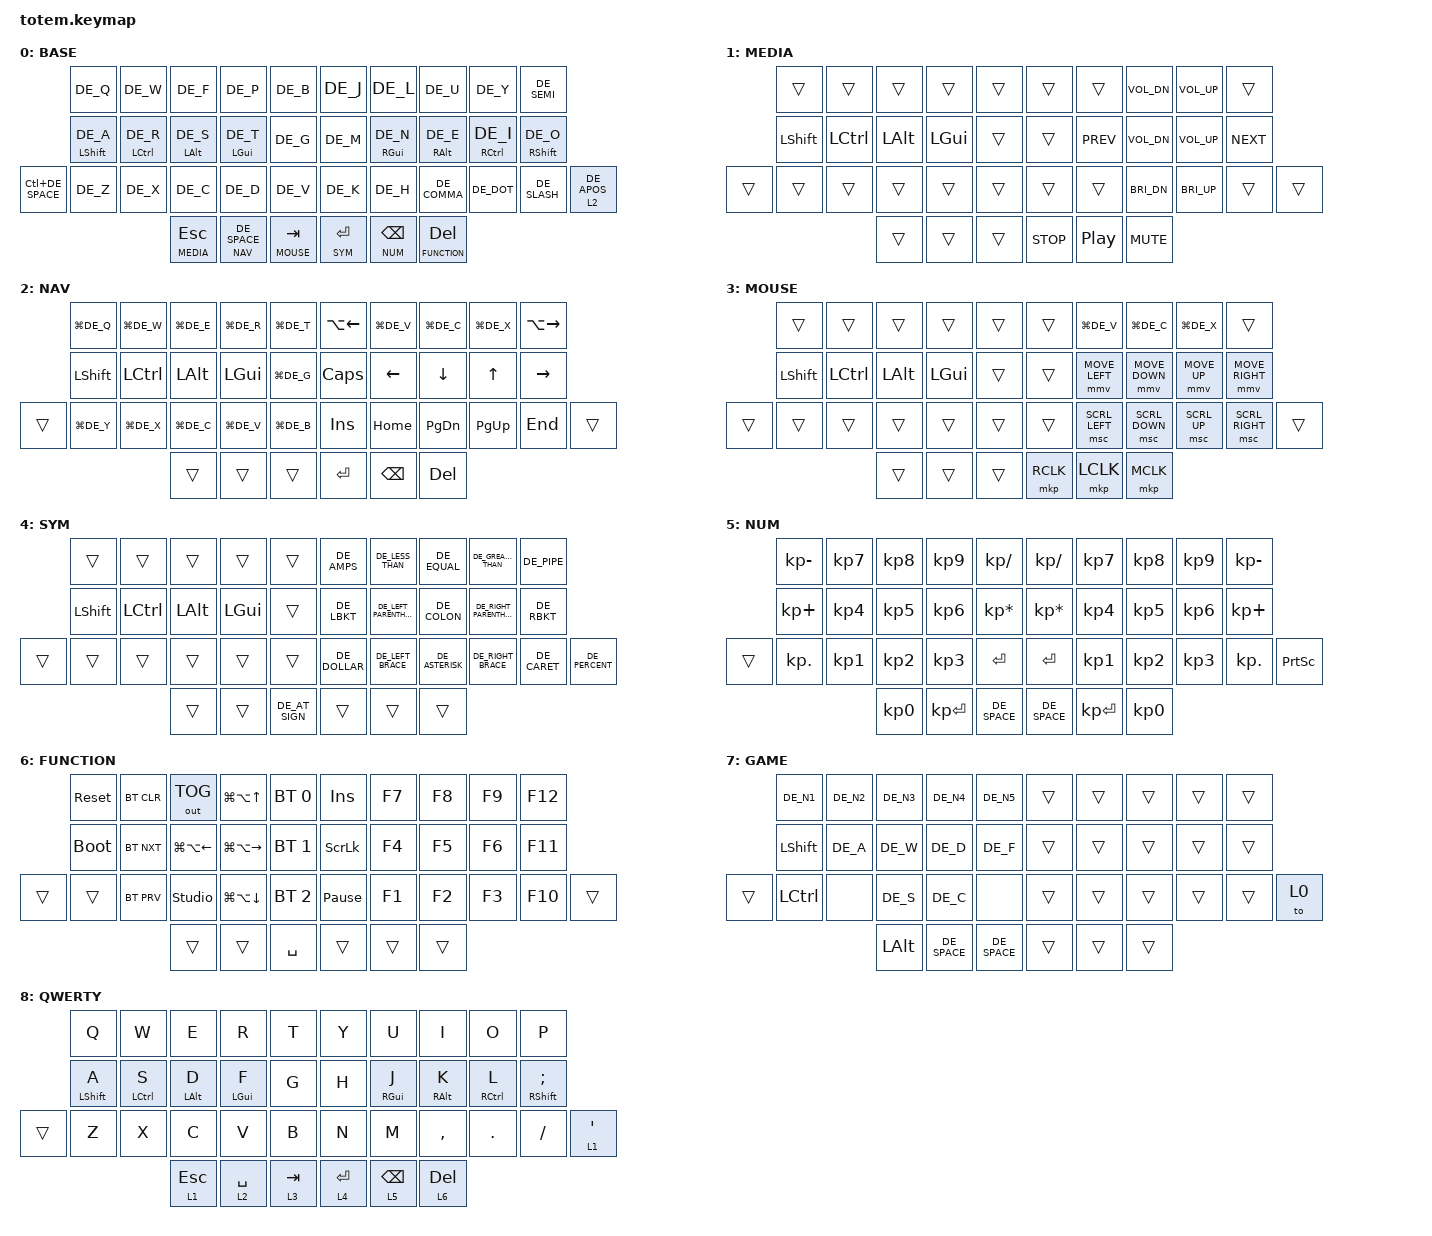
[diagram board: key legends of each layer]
//
//                                                        ▀▀▀▀▀     ▀▀▀▀▀          ▀▀█▀▀
//                                                        ▄▀▀▀▄  ▄  ▄▀▀▀▄  ▄  ▄▀▀▀▄  █  ▄▀▀▀▄
//                                                        █   █  █  █   █  █  █   █  █  █   █
//                                                         ▀▀▀   █   ▀▀▀   █   ▀▀▀   ▀   ▀▀▀
//                                                               █      ▄▄▄█▄▄▄    █   █  
//                                                               ▀      █  █  █     █▄█
//                                                             ▀▀▀▀▀    █  █  █      ▀
//                                                                      ▀  ▀  ▀
//
// ▄▄▄▄▄▄▄▄▄▄▄▄▄▄▄▄▄▄▄▄▄▄▄▄▄▄▄▄▄▄▄▄▄▄▄▄▄▄▄▄▄▄▄▄▄▄▄▄▄▄▄▄▄▄▄▄▄▄▄▄▄▄▄▄▄▄▄▄▄▄▄▄▄▄▄▄▄▄▄▄▄▄▄▄▄▄▄▄▄▄▄▄▄▄▄▄▄▄▄▄▄▄▄▄▄▄▄▄▄▄▄▄▄▄▄▄▄▄▄▄▄▄▄▄▄▄▄▄▄▄▄▄▄▄▄▄▄▄▄▄▄▄▄▄▄▄▄▄▄

#include <behaviors.dtsi>
#include <dt-bindings/zmk/bt.h>
#include <dt-bindings/zmk/keys.h>
#include <dt-bindings/zmk/outputs.h>
#include <dt-bindings/zmk/pointing.h>
#ifndef KEYMAP_DRAWER
#include "keys_de.h"
#endif

#define BASE      0
#define MEDIA     1
#define NAV       2
#define MOUSE     3
#define SYM       4
#define NUM       5
#define FUNCTION  6
#define GAME      7
#define QWERTY    8

&mt {
    quick-tap-ms = <100>;
    global-quick-tap;
    flavor = "tap-preferred";
    tapping-term-ms = <170>;
};

/ {
    behaviors {
        hm: homerow_mods {
            compatible = "zmk,behavior-hold-tap";
            label = "HOMEROW_MODS";
            #binding-cells = <2>;
            tapping-term-ms = <200>;			// <---[[produces tap if held longer than tapping-term-ms]]
            quick_tap_ms = <0>;
            flavor = "tap-preferred";
            bindings = <&kp>, <&kp>;
        };

        lc: layer_change {
            compatible = "zmk,behavior-hold-tap";
            #binding-cells = <2>;
            flavor = "hold-preferred";
            tapping-term-ms = <200>;
            quick-tap-ms = <200>;
            require-prior-idle-ms = <125>;
            bindings = <&to>, <&kp>;
        };

        sc: sticky_layer_change {
            compatible = "zmk,behavior-hold-tap";
            #binding-cells = <2>;
            flavor = "hold-preferred";
            tapping-term-ms = <200>;
            quick-tap-ms = <200>;
            require-prior-idle-ms = <125>;
            bindings = <&sl>, <&kp>;
        };

        dl: dualayer_change {
            compatible = "zmk,behavior-hold-tap";
            #binding-cells = <2>;
            flavor = "hold-preferred";
            tapping-term-ms = <200>;
            quick-tap-ms = <200>;
            require-prior-idle-ms = <125>;
            bindings = <&to>, <&sl>;
        };

        ts: temp_sticky {
            compatible = "zmk,behavior-hold-tap";
            #binding-cells = <2>;
            flavor = "hold-preferred";
            tapping-term-ms = <200>;
            quick-tap-ms = <200>;
            require-prior-idle-ms = <125>;
            bindings = <&mo>, <&to>;
        };
    };

    combos {
        compatible = "zmk,combos";

        combo_undo {
            timeout-ms = <50>;
            key-positions = <34 35>;
            layers = <0 5 1 6>;
            bindings = <&kp LG(Y)>;
        };

        to_game_layer {
            bindings = <&to 7>;
            key-positions = <4 5>;
            layers = <0 5 1 6>;
            timeout-ms = <50>;
        };

        combo_enter {
            bindings = <&kp ENTER>;
            key-positions = <16 17 18>;
        };
    };

    keymap {
        compatible = "zmk,keymap";

        // ▄▄▄▄▄▄▄▄▄▄▄▄▄▄▄▄▄▄▄▄▄▄▄▄▄▄▄▄▄▄▄▄▄▄▄▄▄▄▄▄▄▄▄▄▄▄▄▄▄▄▄▄▄▄▄▄▄▄▄▄▄▄▄▄▄▄▄▄▄▄▄▄▄▄▄▄▄▄▄▄▄▄▄▄▄▄▄▄▄▄▄▄▄▄▄▄▄▄▄▄▄▄▄▄▄▄▄▄▄▄▄▄▄▄▄▄▄▄▄▄▄▄▄▄▄▄▄▄▄▄▄▄▄▄▄▄▄▄▄▄▄▄▄▄▄▄▄▄▄

        base_layer {
            // ┏━━━━━━━━━━━━━━━━━━━━━━━━━━━━━━━━━━━━━━━┓

            label = "BASE";

            // ┗━━━━━━━━━━━━━━━━━━━━━━━━━━━━━━━━━━━━━━━┛
            //             ┌─────────┬─────────┬─────────┬─────────┬─────────┐                     ┌─────────┬─────────┬─────────┬─────────┬─────────┐
            //             │    Q    │    W    │    F    │    P    │    B    │                     │    J    │    L    │    U    │    Y    │    ;    │   
            //             ├─────────┼─────────┼─────────┼─────────┼─────────┤                     ├─────────┼─────────┼─────────┼─────────┼─────────┤
            //             │    A    │    R    │    S    │    T    │    G    │                     │    M    │    N    │    E    │    I    │    O    │
            //   ┌─────────┼─────────┼─────────┼─────────┼─────────┼─────────┤                     ├─────────┼─────────┼─────────┼─────────┼─────────┼─────────┐
            //   │  ^SPACE │    Z    │    X    │    C    │    D    │    V    │                     │    K    │    H    │    ,    │    .    │    /    │    '    │
            //   └─────────┴─────────┴─────────┴─────────┼─────────┼─────────┼──────────┬┬─────────┼─────────┼─────────┼─────────┴─────────┴─────────┴─────────┘
            //                                           │   ESC   │  SPACE  │  TAB     ││   RET   │  BSPCE  │   DEL   │
            //                                           └─────────┴─────────┴──────────┘└─────────┴─────────┴─────────┘

            bindings = <
               &kp DE_Q         &kp DE_W        &kp DE_F       &kp DE_P        &kp DE_B        &kp DE_J      &kp DE_L            &kp DE_U         &kp DE_Y        &kp DE_SEMI
               &hm LSHIFT DE_A  &hm LCTRL DE_R  &hm LALT DE_S  &hm LGUI DE_T   &kp DE_G        &kp DE_M      &hm RGUI DE_N       &hm RALT DE_E    &hm RCTRL DE_I  &hm RSHIFT DE_O
&kp LC(DE_SPACE)  &kp DE_Z         &kp DE_X        &kp DE_C       &kp DE_D        &kp DE_V        &kp DE_K      &kp DE_H            &kp DE_COMMA     &kp DE_DOT      &kp DE_SLASH      &lc 2 DE_APOS
                                          &lt MEDIA ESC   &lt NAV DE_SPACE  &lt MOUSE TAB    &lt SYM RET  &lt NUM BACKSPACE  &lt FUNCTION DELETE
            >;
        };

        media_layer {
            // ┏━━━━━━━━━━━━━━━━━━━━━━━━━━━━━━━━━━━━━━━┓

            label = "MEDIA";

            // ┗━━━━━━━━━━━━━━━━━━━━━━━━━━━━━━━━━━━━━━━┛
            //             ┌─────────┬─────────┬─────────┬─────────┬─────────┐                    ┌─────────┬─────────┬─────────┬─────────┬─────────┐
            //             │         │         │         │         │         │                    │         │         │         │         │         │   
            //             ├─────────┼─────────┼─────────┼─────────┼─────────┤                    ├─────────┼─────────┼─────────┼─────────┼─────────┤
            //             │         │         │         │         │         │                    │         │         │         │         │         │
            //   ┌─────────┼─────────┼─────────┼─────────┼─────────┼─────────┤                    ├─────────┼─────────┼─────────┼─────────┼─────────┼─────────┐
            //   │         │         │         │         │         │         │                    │         │         │         │         │         │         │
            //   └─────────┴─────────┴─────────┴─────────┼─────────┼─────────┼─────────┬┬─────────┼─────────┼─────────┼─────────┴─────────┴─────────┴─────────┘
            //                                           │         │         │         ││         │         │         │  
            //                                           └─────────┴─────────┴─────────┘└─────────┴─────────┴─────────┘

            bindings = <
        &trans     &trans     &trans    &trans    &trans    &trans      &trans      &kp K_VOL_DN       &kp K_VOL_UP  &trans
        &kp LSHFT  &kp LCTRL  &kp LALT  &kp LGUI  &trans    &trans      &kp C_PREV  &kp C_VOL_DN       &kp C_VOL_UP  &kp C_NEXT
&trans  &trans     &trans     &trans    &trans    &trans    &trans      &trans      &kp C_BRI_DN       &kp C_BRI_UP  &trans      &trans
                              &trans    &trans    &trans    &kp C_STOP  &kp C_PP    &kp C_MUTE
            >;
        };

        nav_layer {
            // ┏━━━━━━━━━━━━━━━━━━━━━━━━━━━━━━━━━━━━━━━┓

            label = "NAV";

            // ┗━━━━━━━━━━━━━━━━━━━━━━━━━━━━━━━━━━━━━━━┛
            //             ┌─────────┬─────────┬─────────┬─────────┬─────────┐                    ┌─────────┬─────────┬─────────┬─────────┬─────────┐
            //             │         │         │         │         │         │                    │         │         │         │         │         │   
            //             ├─────────┼─────────┼─────────┼─────────┼─────────┤                    ├─────────┼─────────┼─────────┼─────────┼─────────┤
            //             │         │         │         │         │         │                    │         │         │         │         │         │
            //   ┌─────────┼─────────┼─────────┼─────────┼─────────┼─────────┤                    ├─────────┼─────────┼─────────┼─────────┼─────────┼─────────┐
            //   │         │         │         │         │         │         │                    │         │         │         │         │         │         │
            //   └─────────┴─────────┴─────────┴─────────┼─────────┼─────────┼─────────┬┬─────────┼─────────┼─────────┼─────────┴─────────┴─────────┴─────────┘
            //                                           │         │         │         ││         │         │         │  
            //                                           └─────────┴─────────┴─────────┘└─────────┴─────────┴─────────┘

            bindings = <
        &kp LG(DE_Q)   &kp LG(DE_W)  &kp LG(DE_E)  &kp LG(DE_R)  &kp LG(DE_T)    &kp LA(LEFT)  &kp LG(DE_V)      &kp LG(DE_C)      &kp LG(DE_X)    &kp LA(RIGHT)
        &kp LSHIFT  &kp LCTRL  &kp LALT   &kp LGUI   &kp LG(DE_G)    &kp CAPS      &kp LEFT       &kp DOWN       &kp UP       &kp RIGHT
&trans  &kp LG(DE_Y)   &kp LG(DE_X)  &kp LG(DE_C)  &kp LG(DE_V)  &kp LG(DE_B)    &kp INSERT    &kp HOME       &kp PAGE_DOWN  &kp PAGE_UP  &kp END        &trans
                               &trans     &trans     &trans       &kp ENTER     &kp BACKSPACE  &kp DELETE
            >;
        };

        mouse_layer {
            // ┏━━━━━━━━━━━━━━━━━━━━━━━━━━━━━━━━━━━━━━━┓

            label = "MOUSE";

            // ┗━━━━━━━━━━━━━━━━━━━━━━━━━━━━━━━━━━━━━━━┛
            //             ┌─────────┬─────────┬─────────┬─────────┬─────────┐                    ┌─────────┬─────────┬─────────┬─────────┬─────────┐
            //             │         │         │         │         │         │                    │         │         │         │         │         │   
            //             ├─────────┼─────────┼─────────┼─────────┼─────────┤                    ├─────────┼─────────┼─────────┼─────────┼─────────┤
            //             │         │         │         │         │         │                    │         │         │         │         │         │
            //   ┌─────────┼─────────┼─────────┼─────────┼─────────┼─────────┤                    ├─────────┼─────────┼─────────┼─────────┼─────────┼─────────┐
            //   │         │         │         │         │         │         │                    │         │         │         │         │         │         │
            //   └─────────┴─────────┴─────────┴─────────┼─────────┼─────────┼─────────┬┬─────────┼─────────┼─────────┼─────────┴─────────┴─────────┴─────────┘
            //                                           │         │         │         ││         │         │         │  
            //                                           └─────────┴─────────┴─────────┘└─────────┴─────────┴─────────┘

            bindings = <
        &trans     &trans     &trans    &trans    &trans    &trans     &kp LG(DE_V)       &kp LG(DE_C)       &kp LG(DE_X)     &trans
        &kp LSHFT  &kp LCTRL  &kp LALT  &kp LGUI  &trans    &trans     &mmv MOVE_LEFT  &mmv MOVE_DOWN  &mmv MOVE_UP  &mmv MOVE_RIGHT
&trans  &trans     &trans     &trans    &trans    &trans    &trans     &msc SCRL_LEFT  &msc SCRL_DOWN  &msc SCRL_UP  &msc SCRL_RIGHT  &trans
                              &trans    &trans    &trans    &mkp RCLK  &mkp LCLK       &mkp MCLK
            >;
        };

        sym_layer {
            // ┏━━━━━━━━━━━━━━━━━━━━━━━━━━━━━━━━━━━━━━━┓

            label = "SYM";

            // ┗━━━━━━━━━━━━━━━━━━━━━━━━━━━━━━━━━━━━━━━┛
            //             ┌─────────┬─────────┬─────────┬─────────┬─────────┐                    ┌─────────┬─────────┬─────────┬─────────┬─────────┐
            //             │         │         │         │         │         │                    │         │         │         │         │         │   
            //             ├─────────┼─────────┼─────────┼─────────┼─────────┤                    ├─────────┼─────────┼─────────┼─────────┼─────────┤
            //             │         │         │         │         │         │                    │         │         │         │         │         │
            //   ┌─────────┼─────────┼─────────┼─────────┼─────────┼─────────┤                    ├─────────┼─────────┼─────────┼─────────┼─────────┼─────────┐
            //   │         │         │         │         │         │         │                    │         │         │         │         │         │         │
            //   └─────────┴─────────┴─────────┴─────────┼─────────┼─────────┼─────────┬┬─────────┼─────────┼─────────┼─────────┴─────────┴─────────┴─────────┘
            //                                           │         │         │         ││         │         │         │  
            //                                           └─────────┴─────────┴─────────┘└─────────┴─────────┴─────────┘

            bindings = <
        &trans     &trans     &trans    &trans    &trans         &kp DE_AMPS  &kp DE_LESS_THAN         &kp DE_EQUAL     &kp DE_GREATER_THAN       &kp DE_PIPE
        &kp LSHFT  &kp LCTRL  &kp LALT  &kp LGUI  &trans         &kp DE_LBKT       &kp DE_LEFT_PARENTHESIS  &kp DE_COLON     &kp DE_RIGHT_PARENTHESIS  &kp DE_RBKT
&trans  &trans     &trans     &trans    &trans    &trans         &kp DE_DOLLAR     &kp DE_LEFT_BRACE        &kp DE_ASTERISK  &kp DE_RIGHT_BRACE        &kp DE_CARET  &kp DE_PERCENT
                              &trans    &trans    &kp DE_AT_SIGN    &trans         &trans                &trans
            >;
        };

        num_layer {
            // ┏━━━━━━━━━━━━━━━━━━━━━━━━━━━━━━━━━━━━━━━┓

            label = "NUM";

            // ┗━━━━━━━━━━━━━━━━━━━━━━━━━━━━━━━━━━━━━━━┛
            //             ┌─────────┬─────────┬─────────┬─────────┬─────────┐                     ┌─────────┬─────────┬─────────┬─────────┬─────────┐
            //             │    -    │    7    │    8    │    9    │    /    │                     │    /    │    7    │    8    │    9    │    -    │
            //             ├─────────┼─────────┼─────────┼─────────┼─────────┤                     ├─────────┼─────────┼─────────┼─────────┼─────────┤
            //             │    +    │    4    │    5    │    6    │    *    │                     │    *    │    4    │    5    │    6    │    +    │
            //   ┌─────────┼─────────┼─────────┼─────────┼─────────┼─────────┤                     ├─────────┼─────────┼─────────┼─────────┼─────────┼─────────┐
            //   │         │    .    │    1    │    2    │    3    │ ------- │                     │ ------- │    1    │    2    │    3    │    .    │  PRINT  │
            //   └─────────┴─────────┴─────────┴─────────┼─────────┼─────────┼──────────┬┬─────────┼─────────┼─────────┼─────────┴─────────┴─────────┴─────────┘
            //                                           │    0    │  ENTER  │  SPACE   ││  SPACE  │  ENTER  │    0    │ 
            //                                           └─────────┴─────────┴──────────┘└─────────┴─────────┴─────────┘

            bindings = <
           &kp KP_MINUS  &kp KP_N7  &kp KP_N8  &kp KP_N9  &kp KP_DIVIDE      &kp KP_DIVIDE    &kp KP_N7  &kp KP_N8  &kp KP_N9  &kp KP_MINUS
           &kp KP_PLUS   &kp KP_N4  &kp KP_N5  &kp KP_N6  &kp KP_MULTIPLY    &kp KP_MULTIPLY  &kp KP_N4  &kp KP_N5  &kp KP_N6  &kp KP_PLUS
&trans  &kp KP_DOT    &kp KP_N1  &kp KP_N2  &kp KP_N3  &kp RET            &kp RET          &kp KP_N1  &kp KP_N2  &kp KP_N3  &kp KP_DOT    &kp PSCRN
                                    &kp KP_N0  &kp KP_ENTER  &kp DE_SPACE          &kp DE_SPACE        &kp KP_ENTER     &kp KP_N0
            >;
        };

        function_layer {
            // ┏━━━━━━━━━━━━━━━━━━━━━━━━━━━━━━━━━━━━━━━┓

            label = "FUNCTION";

            // ┗━━━━━━━━━━━━━━━━━━━━━━━━━━━━━━━━━━━━━━━┛
            //             ┌─────────┬─────────┬─────────┬─────────┬─────────┐                     ┌─────────┬─────────┬─────────┬─────────┬─────────┐
            //             │  RESET  │  BT CLR │ OUT TOG │  WIN ^  │ BTSEL 0 │                     │   INS   │    F7   │    F8   │    F9   │   F12   │
            //             ├─────────┼─────────┼─────────┼─────────┼─────────┤                     ├─────────┼─────────┼─────────┼─────────┼─────────┤
            //             │  BOOTLD │ BT NEXT │  WIN <  │  WIN >  │ BTSEL 1 │                     │  SLCK   │    F4   │    F5   │    F6   │   F11   │
            //   ┌─────────┼─────────┼─────────┼─────────┼─────────┼─────────┤                     ├─────────┼─────────┼─────────┼─────────┼─────────┼─────────┐
            //   │         │ CAPTURE │ BT PREV │ STUDIO  │  WIN v  │ BTSEL 2 │                     │  PAUSE  │    F1   │    F2   │    F3   │   F10   │         │
            //   └─────────┴─────────┴─────────┴─────────┼─────────┼─────────┼──────────┬┬─────────┼─────────┼─────────┼─────────┴─────────┴─────────┴─────────┘
            //                                           │         │         │  SPACE   ││         │         │         │ 
            //                                           └─────────┴─────────┴──────────┘└─────────┴─────────┴─────────┘

            bindings = <
        &sys_reset   &bt BT_CLR  &out OUT_TOG            &kp LG(LA(UP_ARROW))     &bt BT_SEL 0    &kp INSERT       &kp F7  &kp F8  &kp F9  &kp F12
        &bootloader  &bt BT_NXT  &kp LG(LA(LEFT_ARROW))  &kp LG(LA(RIGHT_ARROW))  &bt BT_SEL 1    &kp SLCK         &kp F4  &kp F5  &kp F6  &kp F11
&trans  &trans       &bt BT_PRV  &studio_unlock          &kp LG(LA(DOWN_ARROW))   &bt BT_SEL 2    &kp PAUSE_BREAK  &kp F1  &kp F2  &kp F3  &kp F10  &trans
                                 &trans                  &trans                   &kp SPACE       &trans           &trans  &trans
            >;
        };

        game_layer {
            // ┏━━━━━━━━━━━━━━━━━━━━━━━━━━━━━━━━━━━━━━━┓

            label = "GAME";

            // ┗━━━━━━━━━━━━━━━━━━━━━━━━━━━━━━━━━━━━━━━┛
            //             ┌─────────┬─────────┬─────────┬─────────┬─────────┐                    ┌─────────┬─────────┬─────────┬─────────┬─────────┐
            //             │    1    │    2    │    3    │    4    │    5    │                    │         │         │         │         │         │   
            //             ├─────────┼─────────┼─────────┼─────────┼─────────┤                    ├─────────┼─────────┼─────────┼─────────┼─────────┤
            //             │  SHIFT  │    A    │    W    │    D    │    F    │                    │         │         │         │         │         │
            //   ┌─────────┼─────────┼─────────┼─────────┼─────────┼─────────┤                    ├─────────┼─────────┼─────────┼─────────┼─────────┼─────────┐
            //   │ ------- │  CRTL   │ ------- │    S    │    C    │ ------- │                    │         │         │         │         │         │         │
            //   └─────────┴─────────┴─────────┴─────────┼─────────┼─────────┼─────────┬┬─────────┼─────────┼─────────┼─────────┴─────────┴─────────┴─────────┘
            //                                           │   ALT   │  SPACE  │  SPACE  ││         │         │         │  
            //                                           └─────────┴─────────┴─────────┘└─────────┴─────────┴─────────┘

            bindings = <
       &kp DE_N1     &kp DE_N2  &kp DE_N3    &kp DE_N4     &kp DE_N5       &trans  &trans  &trans  &trans  &trans
       &kp LSHFT  &kp DE_A   &kp DE_W     &kp DE_D      &kp DE_F        &trans  &trans  &trans  &trans  &trans
&trans  &kp LCTRL  &none   &kp DE_S     &kp DE_C      &none        &trans  &trans  &trans  &trans  &trans  &to 0
                          &kp LALT  &kp DE_SPACE  &kp DE_SPACE    &trans  &trans  &trans
            >;
        };

        // ▄▄▄▄▄▄▄▄▄▄▄▄▄▄▄▄▄▄▄▄▄▄▄▄▄▄▄▄▄▄▄▄▄▄▄▄▄▄▄▄▄▄▄▄▄▄▄▄▄▄▄▄▄▄▄▄▄▄▄▄▄▄▄▄▄▄▄▄▄▄▄▄▄▄▄▄▄▄▄▄▄▄▄▄▄▄▄▄▄▄▄▄▄▄▄▄▄▄▄▄▄▄▄▄▄▄▄▄▄▄▄▄▄▄▄▄▄▄▄▄▄▄▄▄▄▄▄▄▄▄▄▄▄▄▄▄▄▄▄▄▄▄▄▄▄▄▄▄▄

        qwerty_layer {
            // ┏━━━━━━━━━━━━━━━━━━━━━━━━━━━━━━━━━━━━━━━┓

            label = "QWERTY";

            // ┗━━━━━━━━━━━━━━━━━━━━━━━━━━━━━━━━━━━━━━━┛
            //             ┌─────────┬─────────┬─────────┬─────────┬─────────┐                     ┌─────────┬─────────┬─────────┬─────────┬─────────┐
            //             │    Q    │    W    │    E    │    R    │    T    │                     │    Y    │    U    │    I    │    O    │    P    │   
            //             ├─────────┼─────────┼─────────┼─────────┼─────────┤                     ├─────────┼─────────┼─────────┼─────────┼─────────┤
            //             │    A    │    S    │    D    │    F    │    G    │                     │    H    │    J    │    K    │    L    │    ;    │
            //   ┌─────────┼─────────┼─────────┼─────────┼─────────┼─────────┤                     ├─────────┼─────────┼─────────┼─────────┼─────────┼─────────┐
            //   │  ^SPACE │    Z    │    X    │    C    │    V    │    B    │                     │    N    │    M    │    ,    │    .    │    /    │    '    │
            //   └─────────┴─────────┴─────────┴─────────┼─────────┼─────────┼──────────┬┬─────────┼─────────┼─────────┼─────────┴─────────┴─────────┴─────────┘
            //                                           │   ESC   │  SPACE  │  TAB     ││   RET   │  BSPCE  │   DEL   │  
            //                                           └─────────┴─────────┴──────────┘└─────────┴─────────┴─────────┘

            bindings = <
               &kp Q         &kp W        &kp E       &kp R        &kp T        &kp Y      &kp U            &kp I         &kp O        &kp P
               &hm LSHIFT A  &hm LCTRL S  &hm LALT D  &hm LGUI F   &kp G        &kp H      &hm RGUI J       &hm RALT K    &hm RCTRL L  &hm RSHIFT SEMICOLON
&trans  &kp Z         &kp X        &kp C       &kp V        &kp B        &kp N      &kp M            &kp COMMA     &kp DOT      &kp SLASH             &lc 1 SQT
                                          &lt 1 ESC   &lt 2 SPACE  &lt 3 TAB    &lt 4 RET  &lt 5 BACKSPACE  &lt 6 DELETE
            >;
        };

        // ▄▄▄▄▄▄▄▄▄▄▄▄▄▄▄▄▄▄▄▄▄▄▄▄▄▄▄▄▄▄▄▄▄▄▄▄▄▄▄▄▄▄▄▄▄▄▄▄▄▄▄▄▄▄▄▄▄▄▄▄▄▄▄▄▄▄▄▄▄▄▄▄▄▄▄▄▄▄▄▄▄▄▄▄▄▄▄▄▄▄▄▄▄▄▄▄▄▄▄▄▄▄▄▄▄▄▄▄▄▄▄▄▄▄▄▄▄▄▄▄▄▄▄▄▄▄▄▄▄▄▄▄▄▄▄▄▄▄▄▄▄▄▄▄▄▄▄▄▄		
    };
};
